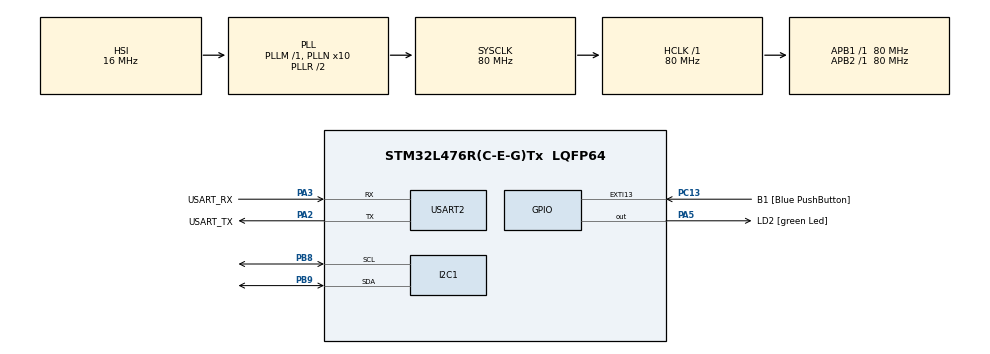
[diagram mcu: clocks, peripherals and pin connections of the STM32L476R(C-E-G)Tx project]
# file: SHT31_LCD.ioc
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I2C1.Timing=0x10D19CE4
Mcu.Family=STM32L4
Mcu.Name=STM32L476R(C-E-G)Tx
Mcu.Package=LQFP64
NVIC.PriorityGroup=NVIC_PRIORITYGROUP_4
PA13\ (JTMS-SWDIO).GPIO_Label=TMS
PA13\ (JTMS-SWDIO).Mode=Serial_Wire
PA13\ (JTMS-SWDIO).Signal=SYS_JTMS-SWDIO
PA14\ (JTCK-SWCLK).GPIO_Label=TCK
PA14\ (JTCK-SWCLK).Mode=Serial_Wire
PA14\ (JTCK-SWCLK).Signal=SYS_JTCK-SWCLK
PA2.GPIO_Label=USART_TX
PA2.GPIO_Mode=GPIO_MODE_AF_PP
PA2.GPIO_PuPd=GPIO_NOPULL
PA2.GPIO_Speed=GPIO_SPEED_FREQ_VERY_HIGH
PA2.Mode=Asynchronous
PA2.Signal=USART2_TX
PA3.GPIO_Label=USART_RX
PA3.GPIO_Mode=GPIO_MODE_AF_PP
PA3.GPIO_PuPd=GPIO_NOPULL
PA3.GPIO_Speed=GPIO_SPEED_FREQ_VERY_HIGH
PA3.Mode=Asynchronous
PA3.Signal=USART2_RX
PA5.GPIO_Label=LD2 [green Led]
PA5.GPIO_ModeDefaultOutputPP=GPIO_MODE_OUTPUT_PP
PA5.GPIO_PuPd=GPIO_NOPULL
PA5.GPIO_Speed=GPIO_SPEED_FREQ_LOW
PA5.Signal=GPIO_Output
PB3\ (JTDO-TRACESWO).GPIO_Label=SWO
PB3\ (JTDO-TRACESWO).Signal=SYS_JTDO-SWO
PB8.Mode=I2C
PB8.Signal=I2C1_SCL
PB9.Mode=I2C
PB9.Signal=I2C1_SDA
PC13.GPIO_Label=B1 [Blue PushButton]
PC13.GPIO_ModeDefaultEXTI=GPIO_MODE_IT_FALLING
PC13.GPIO_PuPd=GPIO_NOPULL
PC13.Signal=GPXTI13
PC14-OSC32_IN\ (PC14).Mode=LSE-External-Oscillator
PC14-OSC32_IN\ (PC14).Signal=RCC_OSC32_IN
PC15-OSC32_OUT\ (PC15).Mode=LSE-External-Oscillator
PC15-OSC32_OUT\ (PC15).Signal=RCC_OSC32_OUT
PH0-OSC_IN\ (PH0).Signal=RCC_OSC_IN
PH1-OSC_OUT\ (PH1).Signal=RCC_OSC_OUT
ProjectManager.HeapSize=0x200
ProjectManager.StackSize=0x400
ProjectManager.TargetToolchain=STM32CubeIDE
RCC.ADCFreq_Value=64000000
RCC.AHBFreq_Value=80000000
RCC.APB1Freq_Value=80000000
RCC.APB1TimFreq_Value=80000000
RCC.APB2Freq_Value=80000000
RCC.APB2TimFreq_Value=80000000
RCC.CortexFreq_Value=80000000
RCC.HCLKFreq_Value=80000000
RCC.HSE_VALUE=8000000
RCC.HSI_VALUE=16000000
RCC.MSI_VALUE=4000000
RCC.PLLN=10
RCC.PLLSourceVirtual=RCC_PLLSOURCE_HSI
RCC.PREFETCH_ENABLE=1
RCC.SYSCLKFreq_VALUE=80000000
RCC.SYSCLKSource=RCC_SYSCLKSOURCE_PLLCLK
RCC.USBFreq_Value=64000000
RCC.VCOOutputFreq_Value=160000000
USART2.VirtualMode-Asynchronous=VM_ASYNC
board=NUCLEO-L476RG

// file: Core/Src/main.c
/* USER CODE BEGIN Header */
/**
  ******************************************************************************
  * @file           : main.c
  * @brief          : Main program body
  ******************************************************************************
  * @attention
  *
  * Copyright (c) 2025 STMicroelectronics.
  * All rights reserved.
  *
  * This software is licensed under terms that can be found in the LICENSE file
  * in the root directory of this software component.
  * If no LICENSE file comes with this software, it is provided AS-IS.
  *
  ******************************************************************************
  */
/* USER CODE END Header */
#include "main.h"
#include "i2c.h"
#include "usart.h"
#include "gpio.h"
#include "lcd.h"
#include <stdio.h>

void SystemClock_Config(void);

int main(void)
{

  /* MCU Configuration--------------------------------------------------------*/

  /* Reset of all peripherals, Initializes the Flash interface and the Systick. */
  HAL_Init();

  /* USER CODE BEGIN Init */

  //lcd_write(I2C1,2);

  /* USER CODE END Init */

  /* Configure the system clock */
  SystemClock_Config();

  /* Initialize all configured peripherals */
  MX_GPIO_Init();
  MX_USART2_UART_Init();
  MX_I2C1_Init();

  rgb_lcd lcd_data;
  lcd_init(&hi2c1, &lcd_data); // Initialisation du LCD
  clearlcd(); // Effacer l'écran

  /* Infinite loop */
  /* USER CODE BEGIN WHILE */
  uint8_t commande[2] = {0x21, 0x26};
  uint8_t data[6];
  uint16_t temp;
  uint16_t humid;
  float temperature;
  float humidite;

  while (1)
  {
    /* USER CODE END WHILE */

    /* USER CODE BEGIN 3 */
	  HAL_I2C_Master_Transmit(&hi2c1, (0x44 << 1), commande, 2, 5000);
	  HAL_Delay(50);
	  HAL_I2C_Master_Receive(&hi2c1, (0x44 << 1), data, 6, 5000) ;
	  HAL_Delay(50);

	  // Température
	  temp = (data[0] << 8) | data[1] ;
	  temperature = -45 + 175*(temp/(65535 + 0.0));

	  // Humidité
	  humid = (data[3] << 8) | data [4];
	  humidite = 100*(humid/(65535 + 0.0));

	  // Affichage LCD
	  char str[20]; // Déclaration d'un buffer pour stocker les chaînes de caractères à afficher

	  sprintf(str, "Temp. : %.2f C", temperature); // Formater la température avec une seule décimale et l'ajouter dans la chaîne 'str'
	  lcd_position(&hi2c1, 0, 0); // Positionner le curseur du LCD à la ligne 0, colonne 0
	  lcd_print(&hi2c1, str); // Afficher la température sur l'écran LCD

	  sprintf(str, "Hum. : %.2f %%", humidite); // Formater l'humidité avec une seule décimale et l'ajouter dans la chaîne 'str'
	  lcd_position(&hi2c1, 0, 1); // Positionner le curseur du LCD à la ligne 1, colonne 0
	  lcd_print(&hi2c1, str); // Afficher l'humidité sur l'écran LCD

	  HAL_Delay(2000);

  /* USER CODE END 3 */
  }
}
void SystemClock_Config(void)
{
  RCC_OscInitTypeDef RCC_OscInitStruct = {0};
  RCC_ClkInitTypeDef RCC_ClkInitStruct = {0};

  /** Configure the main internal regulator output voltage
  */
  if (HAL_PWREx_ControlVoltageScaling(PWR_REGULATOR_VOLTAGE_SCALE1) != HAL_OK)
  {
    Error_Handler();
  }

  /** Initializes the RCC Oscillators according to the specified parameters
  * in the RCC_OscInitTypeDef structure.
  */
  RCC_OscInitStruct.OscillatorType = RCC_OSCILLATORTYPE_HSI;
  RCC_OscInitStruct.HSIState = RCC_HSI_ON;
  RCC_OscInitStruct.HSICalibrationValue = RCC_HSICALIBRATION_DEFAULT;
  RCC_OscInitStruct.PLL.PLLState = RCC_PLL_ON;
  RCC_OscInitStruct.PLL.PLLSource = RCC_PLLSOURCE_HSI;
  RCC_OscInitStruct.PLL.PLLM = 1;
  RCC_OscInitStruct.PLL.PLLN = 10;
  RCC_OscInitStruct.PLL.PLLP = RCC_PLLP_DIV7;
  RCC_OscInitStruct.PLL.PLLQ = RCC_PLLQ_DIV2;
  RCC_OscInitStruct.PLL.PLLR = RCC_PLLR_DIV2;
  if (HAL_RCC_OscConfig(&RCC_OscInitStruct) != HAL_OK)
  {
    Error_Handler();
  }

  /** Initializes the CPU, AHB and APB buses clocks
  */
  RCC_ClkInitStruct.ClockType = RCC_CLOCKTYPE_HCLK|RCC_CLOCKTYPE_SYSCLK
                              |RCC_CLOCKTYPE_PCLK1|RCC_CLOCKTYPE_PCLK2;
  RCC_ClkInitStruct.SYSCLKSource = RCC_SYSCLKSOURCE_PLLCLK;
  RCC_ClkInitStruct.AHBCLKDivider = RCC_SYSCLK_DIV1;
  RCC_ClkInitStruct.APB1CLKDivider = RCC_HCLK_DIV1;
  RCC_ClkInitStruct.APB2CLKDivider = RCC_HCLK_DIV1;

  if (HAL_RCC_ClockConfig(&RCC_ClkInitStruct, FLASH_LATENCY_4) != HAL_OK)
  {
    Error_Handler();
  }
}

void Error_Handler(void)
{
  __disable_irq();
  while (1)
  {
  }
}
